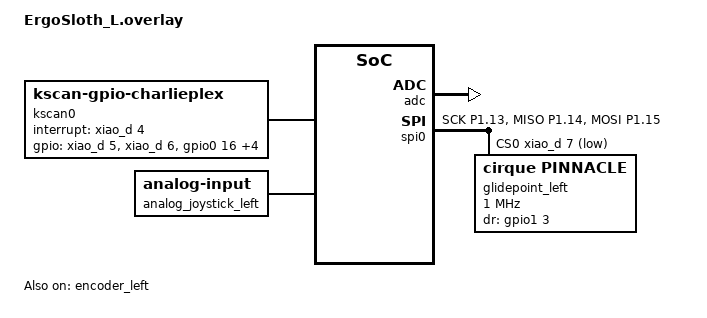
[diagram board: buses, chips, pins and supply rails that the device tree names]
#define ZMK_POINTING_DEFAULT_MOVE_VAL 150
#define ZMK_POINTING_DEFAULT_SCRL_VAL 200
#define ZMK_MOUSE_SCRL_VAL 50

#include "ErgoSloth.dtsi"
#include <input/processors.dtsi>
#include <zephyr/dt-bindings/input/input-event-codes.h>
#include <dt-bindings/zmk/input_transform.h>
#include <dt-bindings/zmk/keys.h>
#include <dt-bindings/zmk/bt.h>

/ {
    kscan0: kscan {
        compatible = "zmk,kscan-gpio-charlieplex";
        wakeup-source;
        interrupt-gpios = <&xiao_d 4 (GPIO_ACTIVE_HIGH | GPIO_PULL_DOWN)>;
    	gpios
        	= <&xiao_d 5 (GPIO_ACTIVE_HIGH)>
        	, <&xiao_d 6 (GPIO_ACTIVE_HIGH)>
        	, <&gpio0 16 (GPIO_ACTIVE_HIGH)>
        	, <&gpio0 15 (GPIO_ACTIVE_HIGH)>
        	, <&gpio0 19 (GPIO_ACTIVE_HIGH)>
        	, <&gpio0 10 (GPIO_ACTIVE_HIGH)>
        	, <&gpio0  9 (GPIO_ACTIVE_HIGH)>
        	;
    };
};

&adc {
	status = "okay";
};

// encoder
&encoder_left {
    status = "okay";
};

// touchpad
&pinctrl {
    spi0_default: spi0_default {
        group1 {
            psels = <NRF_PSEL(SPIM_SCK, 1, 13)>, // xiao D8, see posix_seeed_xiao.overlay in zmk source
            <NRF_PSEL(SPIM_MISO, 1, 14)>, // xiao D9 
            <NRF_PSEL(SPIM_MOSI, 1, 15)>; // xiao D10
        };
    };

    spi0_sleep: spi0_sleep {
        group1 {
            psels = <NRF_PSEL(SPIM_SCK, 1, 13)>,
                    <NRF_PSEL(SPIM_MISO, 1, 14)>,
                    <NRF_PSEL(SPIM_MOSI, 1, 15)>;
            low-power-enable;
        };
    };
};

&spi0 {
   compatible = "nordic,nrf-spim";
   status = "okay";
   pinctrl-0 = <&spi0_default>;
   pinctrl-1 = <&spi0_sleep>;
   pinctrl-names = "default", "sleep";
   cs-gpios = <&xiao_d 7 GPIO_ACTIVE_LOW>, <&gpio0 13 (GPIO_PULL_UP)>;//dummy
   glidepoint_left:  glidepoint_left@0 {
        compatible = "cirque,pinnacle";
        reg = <0>;
        spi-max-frequency = <1000000>;
        status = "okay";
        dr-gpios = <&gpio1 3 (GPIO_ACTIVE_HIGH)>;
        sensitivity = "2x";
        x-invert;
		rotate-90;

        // Optional: turning this on enables very aggressive power saving, after 5 seconds with no touches
        // the trackpad will go to sleep.  It wakes up on touch, but there is a ~300ms delay.  Most users will find
        // the standard behavior of 'put to sleep when zmk enters idle state (30 seconds without a keypress) feels better.
	    //sleep;
    };
};

// joystick

/ {
	analog_joystick_left: analog_joystick_left {
		compatible = "zmk,analog-input";
		sampling-hz = <100>;
		status = "okay";
		
		x-ch {
			io-channels = <&adc 0>;
			mv-mid = <1650>;
			mv-min-max = <900>;
			mv-deadzone = <100>;
			scale-multiplier = <1>;
			scale-divisor = <30>;
			evt-type = <INPUT_EV_REL>;
			input-code = <INPUT_REL_X>;
		};
		
		y-ch {
			io-channels = <&adc 1>;
			mv-mid = <1620>;
			mv-min-max = <900>;
			mv-deadzone = <100>;
			scale-multiplier = <1>;
			scale-divisor = <30>;
			evt-type = <INPUT_EV_REL>;
			input-code = <INPUT_REL_Y>;
		};
	};


    /* THIS only makes keymap binding happy, nothing happens on peripheral side */
	glidepoint_left_split: virtual_input0 {
		compatible = "zmk,virtual-input";
	};

    input_relay_config_2 {
        compatible = "zmk,split-peripheral-input-relay";

        /* peripheral side input device, used to... */
		/*  - be intecepted on peripheral; */
		/*  - and then, be resurrected as `zmk,virtual-device` on central; */
        device = <&glidepoint_left>;

        /* channel id, used to be be transfered along with all input events. */
		/* NOTE 1: pick any 8bit integer. (1 - 255) */
		/* NOTE 2: should matching relay-channel on central overlay */
		relay-channel = <2>;
    };

	analog_joystick_left_split: virtual_input2 {
		compatible = "zmk,virtual-input";
	};

    input_relay_config_222 {
        compatible = "zmk,split-peripheral-input-relay";
        device = <&analog_joystick_left>;
		relay-channel = <222>;
    };

};


//_______________________________________________________________________________________________________

// ここに指定したキーではAMLから抜けなくなる
&zip_temp_layer {
    excluded-positions = <
        27 // L Prev
		28 // L Next
		31 // R Prev
		32 // R Next
		38 // L Middle Click
		39 // L Right Click
		40 // L Left Click
		43 // R Left Click
		44 // R Right Click
		45 // R Middle Click
		63 // L Middle Click
		64 // L Right Click
		65 // L Left Click
		66 // R Left Click
		67 // R Right Click
		68 // R Middle Click
    >;
    require-prior-idle-ms = <100>;
};

&glidepoint_left_split {
	status = "okay";
    device = <&glidepoint_left>;
};
